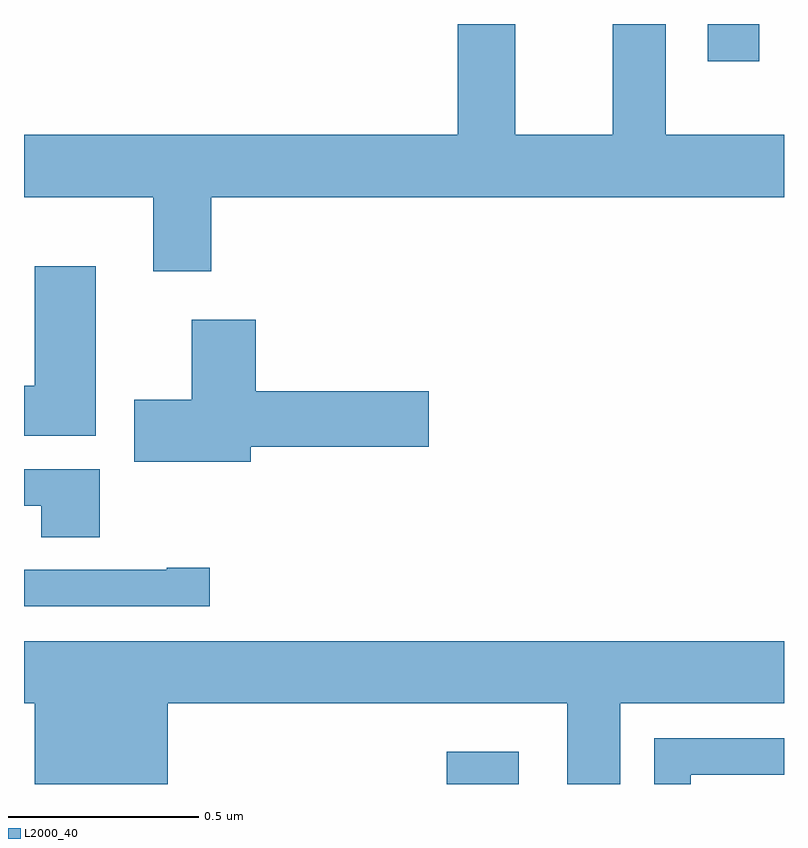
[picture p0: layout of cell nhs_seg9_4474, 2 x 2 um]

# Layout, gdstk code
import gdstk
lib = gdstk.Library(unit=1e-6, precision=1e-09)
def R(c, l, rs):  # rectangles x0, y0, x1, y1
    for r in rs: c.add(gdstk.rectangle(r[:2], r[2:], *l))
def P(c, l, *ps):  # polygons
    for p in ps: c.add(gdstk.Polygon(p, *l))
L2000_40 = (2000, 40)

nhs_seg9_4474 = lib.new_cell('nhs_seg9_4474')
R(nhs_seg9_4474, L2000_40, [(167.113,1237.5,167.302,1237.585), (167.799,1239.402,167.935,1239.5)])
P(nhs_seg9_4474, L2000_40, [(166.493,1239.044),(168,1239.044),(168,1239.208),(167.689,1239.208),(167.689,1239.5),(167.549,1239.5),(167.549,1239.208),(167.293,1239.208),(167.293,1239.5),(167.141,1239.5),(167.141,1239.208),(166,1239.208),(166,1239.044),(166.34,1239.044),(166.34,1238.85),(166.493,1238.85)],
  [(166.189,1238.863),(166.028,1238.863),(166.028,1238.548),(166,1238.548),(166,1238.417),(166.189,1238.417)],
  [(166.597,1238.387),(167.065,1238.387),(167.065,1238.534),(166.61,1238.534),(166.61,1238.722),(166.442,1238.722),(166.442,1238.511),(166.29,1238.511),(166.29,1238.348),(166.597,1238.348)],
  [(166.199,1238.328),(166,1238.328),(166,1238.232),(166.046,1238.232),(166.046,1238.149),(166.199,1238.149)],
  [(166.489,1238.069),(166.376,1238.069),(166.376,1238.064),(166,1238.064),(166,1237.968),(166.489,1237.968)],
  [(166.378,1237.712),(167.429,1237.712),(167.429,1237.5),(167.569,1237.5),(167.569,1237.712),(168,1237.712),(168,1237.876),(166,1237.876),(166,1237.712),(166.028,1237.712),(166.028,1237.5),(166.378,1237.5)],
  [(167.755,1237.524),(168,1237.524),(168,1237.62),(167.658,1237.62),(167.658,1237.5),(167.755,1237.5)])

lib.write_gds('nhs_seg9_4474.gds')
